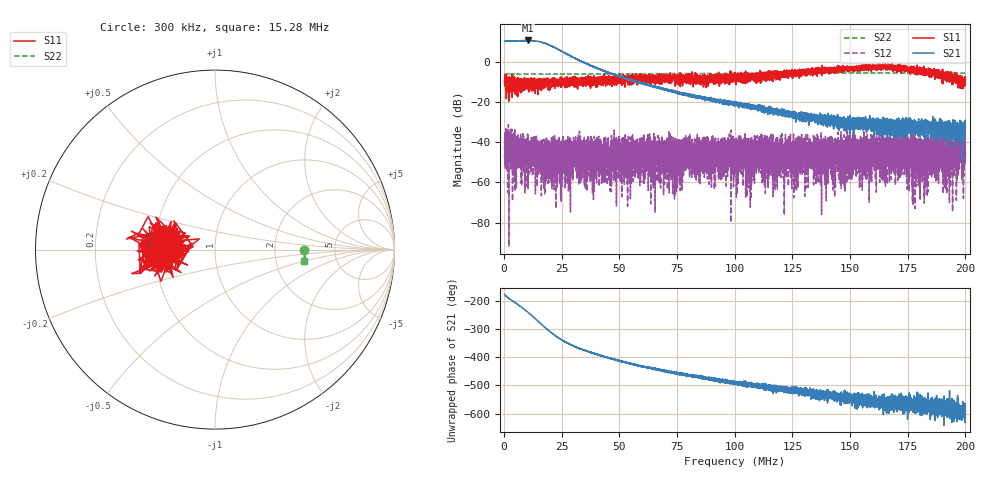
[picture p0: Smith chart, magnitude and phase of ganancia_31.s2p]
# Hz S DB R 50
! CMT, M5065, 19127446, 24.2.4/2
! Date: 10/29/2024 1:19:28 PM
! Data: Format (Calibration Info)
! Freq	S11:dB/Ang(F2)	S21:dB/Ang(F2)	S12:dB/Ang(F2)	S22:dB/Ang(F2)
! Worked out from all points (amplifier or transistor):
!   9000 points, 300 kHz to 200 MHz, reference 50 ohm
!   highest |S21| = 10.8 dB at 10.4 MHz (marker M1)
!   |S21| within 3 dB of that: start of sweep to 20.98 MHz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
!   unconditionally stable (mu >= 1): start of sweep to end of sweep
!   at 33.59 MHz: K = 264.00, MAG = 2.0 dB, |S12| = -58.1 dB
!   at 100.2 MHz: K = 309.28, MAG = -18.0 dB, |S12| = -40.7 dB
!   at 200 MHz: K = 3816.54, MAG = -32.8 dB, |S12| = -46.9 dB
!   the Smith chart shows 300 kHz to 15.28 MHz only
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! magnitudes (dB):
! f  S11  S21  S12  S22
! 300 kHz  -9.5  10.4  -41.2  -6.1
! 10.4 MHz  -10.0  10.8  -43.2  -6.0
! 18.7 MHz  -10.2  9.0  -54.7  -6.0
! 33.59 MHz  -11.6  0.4  -58.1  -5.9
! 36.98 MHz  -11.4  -1.4  -43.0  -5.9
! 38.09 MHz  -11.1  -1.8  -43.8  -5.9
! 40.13 MHz  -10.5  -2.9  -47.9  -5.9
! 45.77 MHz  -9.5  -5.3  -51.4  -5.9
! 47.75 MHz  -11.2  -6.3  -39.3  -5.8
! 59.8 MHz  -7.3  -10.5  -45.1  -5.8
! 66.87 MHz  -7.7  -12.7  -42.1  -5.8
! 100.2 MHz  -5.2  -21.0  -40.7  -5.7
! 102.6 MHz  -6.3  -20.0  -36.5  -5.7
! 107.1 MHz  -7.4  -23.5  -51.9  -5.7
! 109.9 MHz  -8.1  -22.9  -39.5  -5.7
! 121.7 MHz  -6.1  -26.6  -44.2  -5.5
! 123.7 MHz  -7.2  -26.8  -45.7  -5.5
! 126.4 MHz  -4.4  -26.6  -59.4  -5.5
! 128.5 MHz  -5.6  -27.8  -45.3  -5.5
! 133.4 MHz  -5.0  -26.6  -53.2  -5.4
! 166.7 MHz  -2.6  -28.7  -47.7  -5.4
! 200 MHz  -8.9  -34.8  -46.9  -5.6
